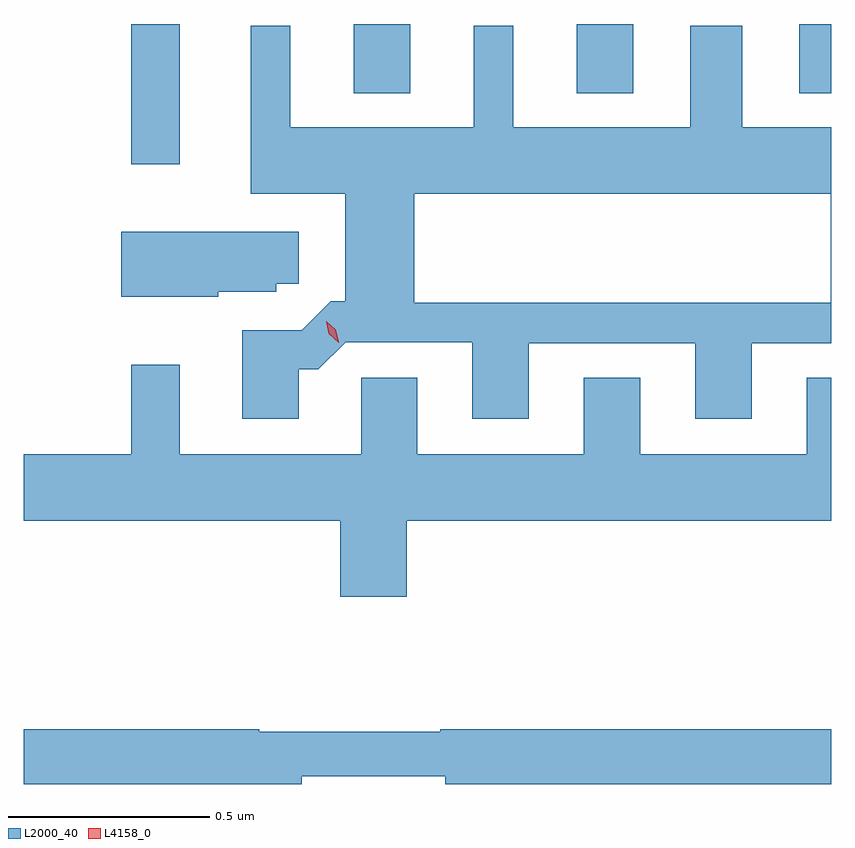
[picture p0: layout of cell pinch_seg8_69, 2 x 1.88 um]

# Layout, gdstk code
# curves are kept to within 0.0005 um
import gdstk
lib = gdstk.Library(unit=1e-6, precision=1e-09)
def R(c, l, rs):  # rectangles x0, y0, x1, y1
    for r in rs: c.add(gdstk.rectangle(r[:2], r[2:], *l))
def P(c, l, *ps):  # polygons
    for p in ps: c.add(gdstk.Polygon(p, *l))
L2000_40 = (2000, 40)
L4158_0 = (4158, 0)

pinch_seg8_69 = lib.new_cell('pinch_seg8_69')
R(pinch_seg8_69, L2000_40, [(931.722,1102.731,931.843,1103.078), (932.273,1102.907,932.413,1103.078), (932.825,1102.907,932.965,1103.078), (933.377,1102.907,933.456,1103.078)])
P(pinch_seg8_69, L2000_40, [(931.997,1102.32),(931.997,1102.101),(932.137,1102.101),(932.137,1102.223),(932.186,1102.223),(932.253,1102.29),(932.567,1102.29),(932.567,1102.101),(932.707,1102.101),(932.707,1102.287),(933.119,1102.287),(933.119,1102.101),(933.259,1102.101),(933.259,1102.287),(933.456,1102.287),(933.456,1102.822),(933.235,1102.822),(933.235,1103.074),(933.107,1103.074),(933.107,1102.822),(932.668,1102.822),(932.668,1103.074),(932.57,1103.074),(932.57,1102.822),(932.116,1102.822),(932.116,1103.074),(932.018,1103.074),(932.018,1102.658),(932.252,1102.658),(932.252,1102.391),(932.216,1102.391),(932.213,1102.388),(932.423,1102.388),(932.423,1102.658),(933.455,1102.658),(933.455,1102.388),(932.213,1102.388),(932.145,1102.32)],
  [(931.938,1102.415),(932.082,1102.415),(932.082,1102.435),(932.137,1102.435),(932.137,1102.564),(931.698,1102.564),(931.698,1102.403),(931.938,1102.403)],
  [(932.404,1101.848),(933.456,1101.848),(933.456,1102.202),(933.395,1102.202),(933.395,1102.012),(932.983,1102.012),(932.983,1102.202),(932.843,1102.202),(932.843,1102.012),(932.431,1102.012),(932.431,1102.202),(932.292,1102.202),(932.292,1102.012),(931.843,1102.012),(931.843,1102.234),(931.722,1102.234),(931.722,1102.012),(931.456,1102.012),(931.456,1101.848),(932.24,1101.848),(932.24,1101.66),(932.404,1101.66)],
  [(932.144,1101.215),(932.5,1101.215),(932.5,1101.196),(933.456,1101.196),(933.456,1101.332),(932.488,1101.332),(932.488,1101.325),(932.039,1101.325),(932.039,1101.332),(931.456,1101.332),(931.456,1101.196),(932.144,1101.196)])
P(pinch_seg8_69, L4158_0, [(932.236,1102.289),(932.236,1102.289),(932.212,1102.311),(932.205,1102.342),(932.205,1102.342),(932.205,1102.342),(932.229,1102.321),(932.236,1102.29)])

lib.write_gds('pinch_seg8_69.gds')
